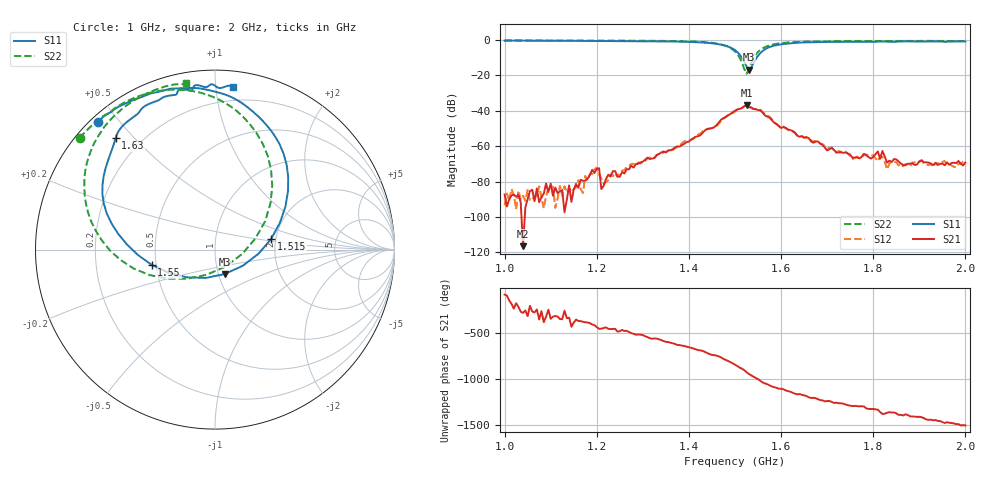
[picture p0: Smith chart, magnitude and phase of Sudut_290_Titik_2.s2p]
# Hz S RI R 50
! CMT, C1220, 16058040, 17.2.0/1
! Date: 14/08/2018 12:49:22
! Data: Format (Calibration Info)
! Freq  S11: Re/Im (F2)  S21: Re/Im (F2)  S12: Re/Im (F2)  S22: Re/Im (F2)
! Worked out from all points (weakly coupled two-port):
!   201 points, 1 GHz to 2 GHz, reference 50 ohm
!   highest |S21| = -36.95 dB at 1.525 GHz (marker M1); lowest = -116.5 dB at 1.04 GHz (marker M2)
!   lowest |S11| = -16.7 dB at 1.53 GHz (marker M3), VSWR 1.34, Z = 53.8 - j14.9 ohm
!   |S11| at or under -10 dB: 1.515 GHz to 1.547 GHz (31.82 MHz wide, 2.08 % of centre)
!   |S22| runs from -19.1 to -0.2 dB; largest |S21 - S12| = 0.00061
!   S11 on the Smith chart (normalised r, x): 1 GHz: 0.02, +0.44; 1.515 GHz: 1.89, +0.25; 1.55 GHz: 0.47, -0.09; 1.63 GHz: 0.11, +0.44; 2 GHz: 0.10, +1.11
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1e9  -0.6519 0.713  5.07e-06 -4.32e-05  2.08e-05 5.65e-06  -0.7537 0.6215
1.04e9  -0.6223 0.7406  3.42e-07 1.46e-06  -3.65e-05 -1.6e-05  -0.7263 0.6515
1.17e9  -0.4816 0.823  9.95e-05 -3.49e-05  4.59e-05 -1.41e-05  -0.6182 0.7468
1.2e9  -0.4397 0.8395  5.2e-05 -0.000226  1.96e-05 -0.00025  -0.5849 0.7601
1.21e9  -0.4302 0.8424  -4.91e-06 -6.13e-05  -6.05e-05 -0.000103  -0.5807 0.7643
1.22e9  -0.4174 0.8467  2e-05 -0.000117  5.43e-05 -8.11e-05  -0.5738 0.7742
1.335e9  -0.2203 0.8974  -0.000524 0.000305  -0.000516 0.000347  -0.4038 0.8617
1.45e9  0.1821 0.7927  0.00302 -0.00112  0.00302 -0.00131  0.0183 0.837
1.5e9  0.4069 0.3263  -0.00597 -0.00817  -0.00562 -0.0077  0.3188 0.3563
1.515e9  0.3124 0.0589  -0.0118 -0.002  -0.0119 -0.00227  0.2254 0.0627
1.525e9  0.1556 -0.0896  -0.0125 0.00674  -0.0126 0.00671  0.0594 -0.0941
1.53e9  0.0564 -0.1353  -0.00858 0.00937  -0.00863 0.00943  -0.0474 -0.1406
1.55e9  -0.3522 -0.0853  0.00253 0.0102  0.00215 0.0103  -0.4542 -0.1049
1.63e9  -0.5541 0.6205  0.000321 -0.00241  0.000443 -0.00236  -0.6954 0.54
1.67e9  -0.4469 0.7437  -0.000774 -0.000993  -0.000788 -0.0011  -0.6273 0.6683
1.755e9  -0.2809 0.8516  -0.000374 0.00029  -0.000368 0.000245  -0.4927 0.803
1.81e9  -0.1953 0.8913  -0.000166 0.000694  0.00014 0.000354  -0.4151 0.8522
1.815e9  -0.1851 0.8929  9.61e-05 0.000432  2.69e-05 0.0005  -0.4085 0.856
1.82e9  -0.1733 0.8928  0.000407 0.000618  0.000167 0.000469  -0.4015 0.8592
1.83e9  -0.148 0.8886  0.000119 0.000324  -2.03e-05 0.000221  -0.3881 0.8657
1.835e9  -0.1375 0.8868  9.37e-05 0.00038  0.000112 0.000304  -0.3816 0.8692
2e9  0.1007 0.9067  0.000128 -0.000322  0.000134 -0.000385  -0.1593 0.9301
